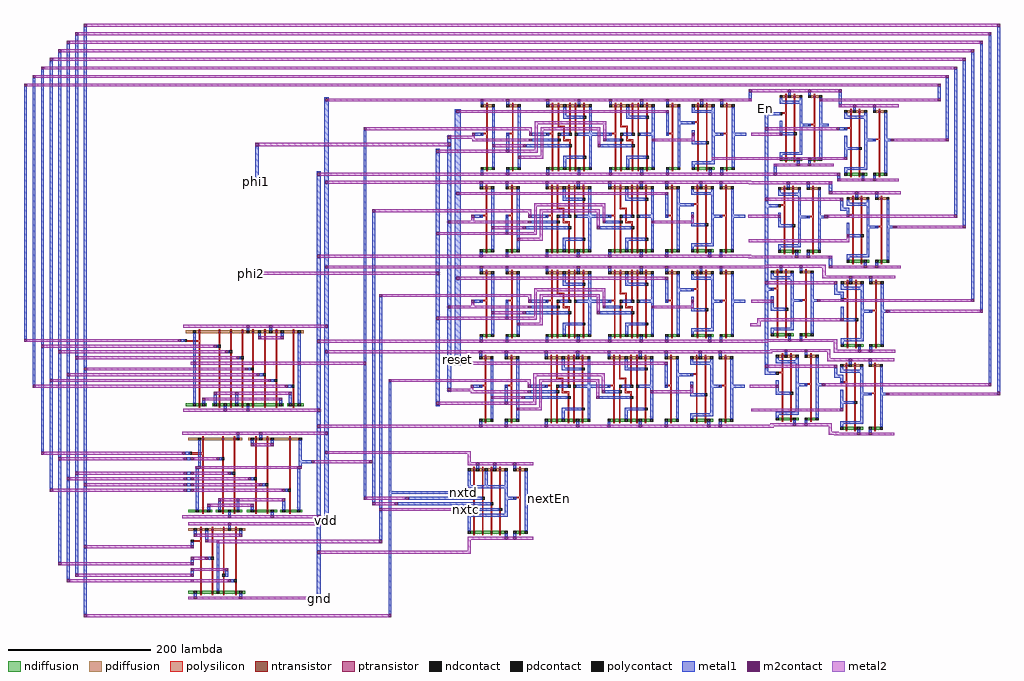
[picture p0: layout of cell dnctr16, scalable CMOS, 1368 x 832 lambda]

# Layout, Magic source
magic
tech scmos
<< metal1 >>
rect -528 162 -524 516
rect -516 98 -512 528
rect -504 154 -500 540
rect -504 4 -500 150
rect -492 106 -488 552
rect -492 -48 -488 102
rect -480 146 -476 564
rect -480 -4 -476 142
rect -480 -151 -476 -8
rect -468 114 -464 576
rect -468 -32 -464 110
rect -468 -175 -464 -36
rect -456 138 -452 588
rect -456 -24 -452 134
rect -456 -167 -452 -28
rect -444 122 -440 600
rect -107 499 -101 501
rect -107 495 -106 499
rect -102 495 -101 499
rect 488 499 492 508
rect -204 381 -199 432
rect -118 395 -112 397
rect -118 391 -117 395
rect -113 391 -112 395
rect -118 280 -112 391
rect -118 276 -117 280
rect -113 276 -112 280
rect -308 158 -303 162
rect -118 161 -112 276
rect -444 -40 -440 118
rect -118 157 -117 161
rect -113 157 -112 161
rect -118 64 -112 157
rect -118 60 -117 64
rect -113 60 -112 64
rect -118 42 -112 60
rect -118 38 -117 42
rect -113 38 -112 42
rect -302 0 -296 4
rect -300 -8 -297 -4
rect -143 -12 -125 -8
rect -300 -28 -297 -24
rect -300 -36 -298 -32
rect -300 -44 -297 -40
rect -444 -127 -440 -44
rect -300 -52 -297 -48
rect -118 -85 -112 38
rect -118 -89 -117 -85
rect -113 -89 -112 -85
rect -444 -224 -440 -131
rect -118 -135 -112 -89
rect -107 384 -101 495
rect 614 491 618 508
rect 753 499 757 516
rect 76 483 84 484
rect 76 479 78 483
rect 83 479 84 483
rect -107 380 -106 384
rect -102 380 -101 384
rect -107 265 -101 380
rect -107 261 -106 265
rect -102 261 -101 265
rect -107 182 -101 261
rect -107 178 -106 182
rect -102 178 -101 182
rect -107 146 -101 178
rect -107 142 -106 146
rect -102 142 -101 146
rect -107 32 -101 142
rect -107 28 -106 32
rect -102 28 -101 32
rect -107 5 -101 28
rect -107 1 -106 5
rect -102 1 -101 5
rect -107 -95 -101 1
rect -52 130 -48 455
rect 65 447 71 448
rect 65 443 66 447
rect 70 443 71 447
rect 65 437 71 443
rect 65 432 66 437
rect 70 432 71 437
rect 49 427 55 429
rect 49 423 50 427
rect 54 423 55 427
rect -52 -59 -48 126
rect -40 -67 -36 340
rect 49 312 55 423
rect 49 308 50 312
rect 54 308 55 312
rect 49 256 55 308
rect 49 252 50 256
rect 54 252 55 256
rect -107 -99 -106 -95
rect -102 -99 -101 -95
rect -107 -100 -101 -99
rect -30 -75 -26 221
rect 49 193 55 252
rect 49 189 50 193
rect 54 189 55 193
rect -30 -119 -26 -79
rect -17 -51 -13 102
rect 49 74 55 189
rect 65 328 71 432
rect 65 324 66 328
rect 70 324 71 328
rect 65 209 71 324
rect 65 205 66 209
rect 70 205 71 209
rect 65 93 71 205
rect 76 368 84 479
rect 76 364 78 368
rect 83 364 84 368
rect 76 249 84 364
rect 76 245 78 249
rect 83 245 84 249
rect 76 131 84 245
rect 76 126 78 131
rect 82 126 84 131
rect 76 125 84 126
rect 510 480 515 487
rect 510 476 532 480
rect 510 459 515 476
rect 615 455 626 459
rect 510 360 515 455
rect 764 443 768 528
rect 622 417 626 429
rect 523 395 527 404
rect 612 387 616 391
rect 600 369 605 379
rect 510 351 515 356
rect 510 347 529 351
rect 510 243 515 347
rect 616 346 620 356
rect 616 342 629 346
rect 625 336 629 342
rect 776 336 780 540
rect 788 321 792 552
rect 600 265 605 275
rect 510 234 515 239
rect 510 230 523 234
rect 510 126 515 230
rect 608 228 612 239
rect 608 224 621 228
rect 617 219 621 224
rect 800 218 804 564
rect 812 203 816 576
rect 510 116 515 122
rect 510 112 526 116
rect 608 112 612 122
rect 608 108 620 112
rect 616 101 620 108
rect 824 100 828 588
rect 65 89 66 93
rect 70 89 71 93
rect 65 88 71 89
rect 836 88 840 600
rect 49 70 50 74
rect 54 70 55 74
rect 49 68 55 70
rect 616 65 620 74
rect -17 -54 98 -51
rect -17 -55 78 -54
rect 87 -55 98 -54
rect -118 -139 -117 -135
rect -113 -139 -112 -135
rect -118 -199 -112 -139
rect -17 -224 -13 -55
rect 6 -63 7 -59
rect 11 -63 94 -59
rect 205 -64 213 -59
rect -4 -71 94 -67
<< metal2 >>
rect -440 600 836 604
rect -452 588 824 592
rect -464 576 812 580
rect -476 564 800 568
rect -488 552 788 556
rect -500 540 776 544
rect -512 528 764 532
rect -524 516 753 520
rect 492 508 526 512
rect 603 508 614 512
rect -102 495 85 499
rect 591 495 753 499
rect 83 479 100 483
rect -48 455 104 459
rect 515 455 611 459
rect 491 447 531 451
rect 70 443 100 447
rect 100 439 101 443
rect 691 439 764 443
rect -199 432 66 437
rect 54 423 101 427
rect 436 413 622 417
rect -113 391 88 395
rect 491 391 523 395
rect 527 391 612 395
rect -102 380 84 384
rect 488 379 521 383
rect 83 364 100 368
rect 605 365 633 369
rect 515 356 616 360
rect -36 340 103 344
rect 487 332 529 336
rect 599 332 776 336
rect 70 324 100 328
rect 695 317 788 321
rect 54 308 100 312
rect 625 302 629 305
rect 488 298 629 302
rect -113 276 85 280
rect 488 275 521 279
rect -102 261 84 265
rect 487 261 513 265
rect -212 252 50 256
rect 591 251 596 266
rect 605 261 633 265
rect 83 245 99 249
rect 591 247 609 251
rect 515 239 608 243
rect -26 221 104 225
rect 491 213 519 217
rect 588 214 800 218
rect 70 205 100 209
rect 684 199 812 203
rect 54 189 100 193
rect 500 187 616 191
rect 500 184 505 187
rect -132 178 -106 182
rect 490 180 505 184
rect -524 158 -312 162
rect -113 157 83 161
rect 489 157 515 161
rect 586 158 612 162
rect -500 150 -304 154
rect -476 142 -304 146
rect -102 142 84 146
rect 490 142 521 146
rect -452 134 -304 138
rect 598 135 602 147
rect 607 143 612 158
rect 598 131 614 135
rect -144 126 -52 130
rect 82 126 99 130
rect 515 122 608 126
rect -440 118 -302 122
rect -464 110 -303 114
rect -488 102 -303 106
rect -13 102 104 106
rect -512 94 -304 98
rect 489 94 526 98
rect 595 96 824 100
rect 70 89 101 92
rect 685 83 836 87
rect 54 70 99 74
rect -132 60 -117 64
rect 491 61 616 64
rect -113 38 82 42
rect 489 38 523 42
rect 600 32 604 44
rect -135 28 -106 32
rect 600 28 614 32
rect -500 0 -306 4
rect -102 1 98 5
rect -476 -8 -304 -4
rect -121 -12 -44 -8
rect 94 -15 98 1
rect -452 -28 -304 -24
rect -464 -36 -304 -32
rect -440 -44 -304 -40
rect -488 -52 -304 -48
rect -48 -63 7 -59
rect -36 -71 -8 -67
rect -26 -79 91 -75
rect -134 -89 -117 -85
rect -216 -99 -106 -95
rect -258 -124 -30 -119
rect -440 -131 -294 -127
rect 94 -135 98 -115
rect -113 -139 98 -135
rect -476 -155 -294 -151
rect -452 -171 -294 -167
rect -464 -179 -290 -175
rect -217 -203 -118 -199
rect -440 -228 -17 -224
<< m2contact >>
rect -444 600 -440 604
rect -456 588 -452 592
rect -468 576 -464 580
rect -480 564 -476 568
rect -492 552 -488 556
rect -504 540 -500 544
rect -516 528 -512 532
rect -528 516 -524 520
rect -528 158 -524 162
rect -516 94 -512 98
rect -504 150 -500 154
rect -504 0 -500 4
rect -492 102 -488 106
rect -492 -52 -488 -48
rect -480 142 -476 146
rect -480 -8 -476 -4
rect -480 -155 -476 -151
rect -468 110 -464 114
rect -468 -36 -464 -32
rect -456 134 -452 138
rect -456 -28 -452 -24
rect -456 -171 -452 -167
rect 836 600 840 604
rect 824 588 828 592
rect 812 576 816 580
rect 800 564 804 568
rect 788 552 792 556
rect 776 540 780 544
rect 764 528 768 532
rect 753 516 757 520
rect 488 508 492 512
rect -106 495 -102 499
rect 614 508 618 512
rect 488 495 492 499
rect 587 495 591 499
rect -204 432 -199 437
rect -117 391 -113 395
rect -117 276 -113 280
rect -312 158 -308 162
rect -444 118 -440 122
rect -117 157 -113 161
rect -117 60 -113 64
rect -117 38 -113 42
rect -306 0 -302 4
rect -304 -8 -300 -4
rect -125 -12 -121 -8
rect -304 -28 -300 -24
rect -304 -36 -300 -32
rect -444 -44 -440 -40
rect -304 -44 -300 -40
rect -304 -52 -300 -48
rect -117 -89 -113 -85
rect -444 -131 -440 -127
rect -294 -131 -290 -127
rect -468 -179 -464 -175
rect 753 495 757 499
rect 614 487 618 491
rect 78 479 83 483
rect -106 380 -102 384
rect -106 261 -102 265
rect -106 178 -102 182
rect -106 142 -102 146
rect -106 28 -102 32
rect -106 1 -102 5
rect -52 455 -48 459
rect 66 443 70 447
rect 66 432 70 437
rect 50 423 54 427
rect -52 126 -48 130
rect -40 340 -36 344
rect -44 -12 -40 -8
rect -52 -63 -48 -59
rect 50 308 54 312
rect 50 252 54 256
rect -40 -71 -36 -67
rect -30 221 -26 225
rect -106 -99 -102 -95
rect 50 189 54 193
rect -30 -79 -26 -75
rect -30 -124 -26 -119
rect -17 102 -13 106
rect 66 324 70 328
rect 66 205 70 209
rect 78 364 83 368
rect 78 245 83 249
rect 78 126 82 131
rect 510 455 515 459
rect 611 455 615 459
rect 531 447 535 451
rect 687 439 691 443
rect 764 439 768 443
rect 622 413 626 417
rect 523 404 527 408
rect 523 391 527 395
rect 612 391 616 395
rect 612 383 616 387
rect 600 379 605 383
rect 600 365 605 369
rect 510 356 515 360
rect 616 356 620 360
rect 529 332 533 336
rect 594 331 599 336
rect 776 332 780 336
rect 690 317 695 321
rect 788 317 792 321
rect 625 305 629 309
rect 600 275 605 279
rect 600 261 605 265
rect 510 239 515 243
rect 608 239 612 243
rect 519 213 523 217
rect 584 214 588 218
rect 800 214 804 218
rect 680 199 684 203
rect 812 199 816 203
rect 616 187 621 191
rect 510 122 515 126
rect 608 122 612 126
rect 526 94 530 98
rect 590 96 595 100
rect 824 96 828 100
rect 66 89 70 93
rect 680 83 685 87
rect 836 83 840 88
rect 50 70 54 74
rect 616 61 620 65
rect -117 -139 -113 -135
rect -294 -155 -290 -151
rect -294 -171 -290 -167
rect -118 -203 -112 -199
rect -444 -228 -440 -224
rect 7 -63 11 -59
rect -8 -71 -4 -67
rect 91 -79 95 -75
rect -17 -228 -13 -224
use 2inAND  2inAND_0
transform 1 0 523 0 1 404
box 0 0 84 108
use 2inAND  2inAND_1
transform 1 0 614 0 1 383
box 0 0 84 108
use 2inAND  2inAND_2
transform 1 0 521 0 1 275
box 0 0 84 108
use 2inAND  2inAND_3
transform 1 0 617 0 1 261
box 0 0 84 108
use 2inAND  2inAND_4
transform 1 0 511 0 1 158
box 0 0 84 108
use 2inAND  2inAND_5
transform 1 0 609 0 1 143
box 0 0 84 108
use 2inAND  2inAND_6
transform 1 0 518 0 1 40
box 0 0 84 108
use 2inAND  2inAND_7
transform 1 0 608 0 1 27
box 0 0 84 108
use 4inAND  4inAND_1
transform 1 0 94 0 1 -119
box 0 0 112 108
use dflipflopER  dflipflopER_0
transform 1 0 -74 0 1 38
box 156 0 565 108
use dflipflopER  dflipflopER_1
transform 1 0 -73 0 1 157
box 156 0 565 108
use dflipflopER  dflipflopER_2
transform 1 0 -73 0 1 276
box 156 0 565 108
use dflipflopER  dflipflopER_3
transform 1 0 -72 0 1 391
box 156 0 565 108
use nxta  nxta_0
transform 1 0 -290 0 1 60
box -15 0 158 122
use nxtb  nxtb_0
transform 1 0 -290 0 1 -80
box -16 -9 156 112
use xnor  xnor_0
transform 1 0 -282 0 1 -195
box -16 -8 68 100
<< labels >>
rlabel metal1 88 -53 88 -53 1 nxtd
rlabel metal1 208 -62 208 -62 1 nextEn
rlabel metal1 90 -61 90 -61 1 nxta
rlabel metal1 90 -69 90 -69 1 nxtb
rlabel m2contact 92 -77 92 -77 1 nxtc
rlabel metal1 -202 383 -202 383 1 phi1
rlabel metal2 -209 254 -209 254 1 phi2
rlabel metal1 512 485 512 485 1 En
rlabel m2contact -114 -201 -114 -201 1 gnd
rlabel metal1 -104 -92 -104 -92 1 vdd
rlabel metal1 80 133 80 133 1 reset
<< end >>

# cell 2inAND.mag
magic
tech scmos
<< polysilicon >>
rect 16 100 18 102
rect 28 100 30 102
rect 16 76 18 96
rect 12 74 18 76
rect 16 12 18 74
rect 28 48 30 96
rect 28 12 30 44
rect 16 6 18 8
rect 28 6 30 8
<< ndiffusion >>
rect 12 8 16 12
rect 18 8 28 12
rect 30 8 32 12
rect 36 8 40 12
<< pdiffusion >>
rect 12 96 16 100
rect 18 96 20 100
rect 24 96 28 100
rect 30 96 36 100
<< metal1 >>
rect 20 100 24 104
rect 8 92 12 96
rect 36 92 40 96
rect 8 88 40 92
rect 8 48 12 64
rect 36 60 40 88
rect 36 56 52 60
rect 64 56 77 60
rect 8 44 28 48
rect 36 20 40 56
rect 8 16 40 20
rect 8 12 12 16
rect 32 4 36 8
<< metal2 >>
rect 0 104 20 108
rect 24 104 40 108
rect 76 104 84 108
rect 0 0 32 4
rect 36 0 40 4
rect 76 0 84 4
<< ntransistor >>
rect 16 8 18 12
rect 28 8 30 12
<< ptransistor >>
rect 16 96 18 100
rect 28 96 30 100
<< polycontact >>
rect 8 72 12 76
rect 28 44 32 48
<< ndcontact >>
rect 8 8 12 12
rect 32 8 36 12
<< pdcontact >>
rect 8 96 12 100
rect 20 96 24 100
rect 36 96 40 100
<< m2contact >>
rect 20 104 24 108
rect 32 0 36 4
use inverter  inverter_0
transform 1 0 40 0 1 0
box 0 0 36 108
<< end >>

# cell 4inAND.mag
magic
tech scmos
<< polysilicon >>
rect 8 100 10 102
rect 20 100 22 102
rect 32 100 34 102
rect 44 100 46 102
rect 8 68 10 96
rect 4 66 10 68
rect 8 12 10 66
rect 20 60 22 96
rect 20 12 22 56
rect 32 52 34 96
rect 32 12 34 48
rect 44 44 46 96
rect 44 12 46 40
rect 8 6 10 8
rect 20 6 22 8
rect 32 6 34 8
rect 44 6 46 8
<< ndiffusion >>
rect 4 8 8 12
rect 10 8 20 12
rect 22 8 32 12
rect 34 8 44 12
rect 46 8 52 12
<< pdiffusion >>
rect 4 96 8 100
rect 10 96 12 100
rect 16 96 20 100
rect 22 96 24 100
rect 28 96 32 100
rect 34 96 36 100
rect 40 96 44 100
rect 46 96 52 100
<< metal1 >>
rect 12 100 16 104
rect 36 100 40 104
rect 0 76 4 96
rect 24 76 28 96
rect 52 76 56 96
rect 0 72 56 76
rect 52 60 56 72
rect 0 56 20 60
rect 52 56 68 60
rect 80 56 112 60
rect 0 48 32 52
rect 0 40 44 44
rect 52 36 56 56
rect 0 32 56 36
rect 0 12 4 32
rect 52 4 56 8
<< metal2 >>
rect 0 104 12 108
rect 16 104 36 108
rect 40 104 56 108
rect 0 0 52 4
<< ntransistor >>
rect 8 8 10 12
rect 20 8 22 12
rect 32 8 34 12
rect 44 8 46 12
<< ptransistor >>
rect 8 96 10 100
rect 20 96 22 100
rect 32 96 34 100
rect 44 96 46 100
<< polycontact >>
rect 0 64 4 68
rect 20 56 24 60
rect 32 48 36 52
rect 44 40 48 44
<< ndcontact >>
rect 0 8 4 12
rect 52 8 56 12
<< pdcontact >>
rect 0 96 4 100
rect 12 96 16 100
rect 24 96 28 100
rect 36 96 40 100
rect 52 96 56 100
<< m2contact >>
rect 12 104 16 108
rect 36 104 40 108
rect 52 0 56 4
use inverter  inverter_0
transform 1 0 56 0 1 0
box 0 0 36 108
<< end >>

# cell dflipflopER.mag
magic
tech scmos
<< metal1 >>
rect 176 56 188 60
rect 220 36 224 60
rect 256 56 280 60
rect 336 56 368 60
rect 444 56 448 88
rect 460 72 484 76
rect 548 56 556 60
rect 256 48 276 52
rect 360 48 364 52
rect 248 40 292 44
rect 352 40 364 44
<< metal2 >>
rect 156 104 180 108
rect 234 104 268 108
rect 348 104 356 108
rect 556 104 564 108
rect 172 88 444 92
rect 260 72 360 76
rect 172 64 256 68
rect 252 60 256 64
rect 172 52 176 56
rect 172 48 252 52
rect 204 40 244 44
rect 260 36 264 72
rect 172 32 220 36
rect 224 32 264 36
rect 268 64 352 68
rect 268 28 272 64
rect 348 44 352 64
rect 356 52 360 72
rect 480 52 484 56
rect 428 48 484 52
rect 240 24 272 28
rect 156 0 180 4
rect 239 0 271 4
rect 348 0 356 4
rect 556 0 564 4
<< m2contact >>
rect 444 88 448 92
rect 172 56 176 60
rect 200 40 204 44
rect 252 56 256 60
rect 480 56 484 60
rect 252 48 256 52
rect 356 48 360 52
rect 424 48 428 52
rect 244 40 248 44
rect 348 40 352 44
rect 220 32 224 36
rect 236 24 240 28
use 2inAND  2inAND_3
transform 1 0 472 0 1 0
box 0 0 84 108
use inverter  inverter_0
transform 1 0 436 0 1 0
box 0 0 36 108
use inverter  inverter_1
transform 1 0 212 0 1 0
box 0 0 36 108
use inverter  inverter_2
transform 1 0 176 0 1 0
box 0 0 36 108
use latch  latch_0
transform 1 0 268 0 1 0
box 0 0 80 108
use latch  latch_1
transform 1 0 356 0 1 0
box 0 0 80 108
<< labels >>
rlabel metal2 266 2 266 2 2 Gnd
rlabel metal2 254 106 254 106 5 Vdd
rlabel metal2 173 90 173 90 1 reset
rlabel metal2 174 66 174 66 1 d
rlabel m2contact 174 58 174 58 1 phi1
rlabel metal2 174 34 174 34 1 phi2
rlabel metal1 550 57 550 57 1 out
<< end >>

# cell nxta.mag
magic
tech scmos
<< polysilicon >>
rect 7 114 9 116
rect 35 114 37 116
rect 51 114 53 116
rect 67 114 69 116
rect 82 114 84 116
rect 99 114 101 116
rect 115 114 117 116
rect 139 114 141 116
rect 7 100 9 110
rect -10 98 9 100
rect 7 12 9 98
rect 35 94 37 110
rect 35 12 37 90
rect 51 86 53 110
rect 51 12 53 82
rect 67 78 69 110
rect 67 12 69 74
rect 82 62 84 110
rect 82 12 84 58
rect 99 54 101 110
rect 99 12 101 50
rect 115 46 117 110
rect 115 12 117 42
rect 139 38 141 110
rect 139 12 141 34
rect 7 6 9 8
rect 35 6 37 8
rect 51 6 53 8
rect 67 6 69 8
rect 82 6 84 8
rect 99 6 101 8
rect 115 6 117 8
rect 139 6 141 8
<< ndiffusion >>
rect -11 8 -1 12
rect 3 8 7 12
rect 9 8 12 12
rect 16 8 18 12
rect 26 8 28 12
rect 32 8 35 12
rect 37 8 42 12
rect 46 8 51 12
rect 53 8 58 12
rect 62 8 67 12
rect 69 8 74 12
rect 78 8 82 12
rect 84 8 99 12
rect 101 8 115 12
rect 117 8 120 12
rect 124 8 126 12
rect 131 8 133 12
rect 137 8 139 12
rect 141 8 146 12
rect 150 8 154 12
<< pdiffusion >>
rect -11 110 -1 114
rect 3 110 7 114
rect 9 110 35 114
rect 37 110 51 114
rect 53 110 67 114
rect 69 110 74 114
rect 78 110 82 114
rect 84 110 90 114
rect 94 110 99 114
rect 101 110 106 114
rect 110 110 115 114
rect 117 110 122 114
rect 126 110 139 114
rect 141 110 146 114
rect 150 110 154 114
<< metal1 >>
rect 74 114 78 118
rect 106 114 110 118
rect -1 70 3 110
rect 90 106 94 110
rect 122 106 126 110
rect 32 90 34 94
rect 48 82 50 86
rect 64 74 66 78
rect -1 12 3 66
rect 146 70 150 110
rect 76 58 80 62
rect 92 50 97 54
rect 108 42 113 46
rect 132 34 137 38
rect 12 12 16 16
rect 28 12 32 24
rect 58 12 62 24
rect 120 12 124 16
rect 133 12 137 24
rect 146 12 150 66
rect 42 4 46 8
rect 74 4 78 8
<< metal2 >>
rect -15 118 74 122
rect 78 118 106 122
rect 110 118 158 122
rect 94 102 122 106
rect -14 90 28 94
rect -14 82 44 86
rect -14 74 60 78
rect -4 66 -1 70
rect 3 66 146 70
rect 150 66 154 70
rect -14 58 72 62
rect -14 50 88 54
rect -14 42 104 46
rect -14 34 128 38
rect 32 24 58 28
rect 62 24 133 28
rect 16 16 120 20
rect -15 0 42 4
rect 46 0 74 4
rect 78 0 158 4
<< ntransistor >>
rect 7 8 9 12
rect 35 8 37 12
rect 51 8 53 12
rect 67 8 69 12
rect 82 8 84 12
rect 99 8 101 12
rect 115 8 117 12
rect 139 8 141 12
<< ptransistor >>
rect 7 110 9 114
rect 35 110 37 114
rect 51 110 53 114
rect 67 110 69 114
rect 82 110 84 114
rect 99 110 101 114
rect 115 110 117 114
rect 139 110 141 114
<< polycontact >>
rect -14 98 -10 102
rect 34 90 38 94
rect 50 82 54 86
rect 66 74 70 78
rect 80 58 84 62
rect 97 50 101 54
rect 113 42 117 46
rect 137 34 141 38
<< ndcontact >>
rect -1 8 3 12
rect 12 8 16 12
rect 28 8 32 12
rect 42 8 46 12
rect 58 8 62 12
rect 74 8 78 12
rect 120 8 124 12
rect 133 8 137 12
rect 146 8 150 12
<< pdcontact >>
rect -1 110 3 114
rect 74 110 78 114
rect 90 110 94 114
rect 106 110 110 114
rect 122 110 126 114
rect 146 110 150 114
<< m2contact >>
rect 74 118 78 122
rect 106 118 110 122
rect 90 102 94 106
rect 122 102 126 106
rect 28 90 32 94
rect 44 82 48 86
rect 60 74 64 78
rect -1 66 3 70
rect 146 66 150 70
rect 72 58 76 62
rect 88 50 92 54
rect 104 42 108 46
rect 128 34 132 38
rect 28 24 32 28
rect 12 16 16 20
rect 58 24 62 28
rect 133 24 137 28
rect 120 16 124 20
rect 42 0 46 4
rect 74 0 78 4
<< end >>

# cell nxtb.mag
magic
tech scmos
<< polysilicon >>
rect 12 104 14 106
rect 40 104 42 106
rect 56 104 58 106
rect 86 104 88 106
rect 102 104 104 106
rect 134 104 136 106
rect 12 83 14 100
rect -3 80 14 83
rect 12 3 14 80
rect 40 76 42 100
rect 40 3 42 72
rect 56 56 58 100
rect 56 3 58 52
rect 86 48 88 100
rect 86 3 88 44
rect 102 40 104 100
rect 102 3 104 36
rect 134 32 136 100
rect 134 3 136 28
rect 12 -3 14 -1
rect 40 -3 42 -1
rect 56 -3 58 -1
rect 86 -3 88 -1
rect 102 -3 104 -1
rect 134 -3 136 -1
<< ndiffusion >>
rect -8 -1 3 3
rect 7 -1 12 3
rect 14 -1 19 3
rect 23 -1 26 3
rect 31 -1 34 3
rect 38 -1 40 3
rect 42 -1 48 3
rect 52 -1 56 3
rect 58 -1 60 3
rect 64 -1 68 3
rect 74 -1 80 3
rect 84 -1 86 3
rect 88 -1 102 3
rect 104 -1 108 3
rect 112 -1 117 3
rect 121 -1 124 3
rect 128 -1 134 3
rect 136 -1 145 3
rect 149 -1 152 3
<< pdiffusion >>
rect -8 100 6 104
rect 10 100 12 104
rect 14 100 40 104
rect 42 100 56 104
rect 58 100 60 104
rect 64 100 68 104
rect 76 100 80 104
rect 84 100 86 104
rect 88 100 92 104
rect 96 100 102 104
rect 104 100 108 104
rect 112 100 134 104
rect 136 100 147 104
rect 151 100 152 104
<< metal1 >>
rect 60 104 64 108
rect 92 104 96 108
rect -7 72 -4 76
rect 6 64 10 100
rect 80 96 84 100
rect 108 96 112 100
rect 36 72 39 76
rect 147 64 151 100
rect -8 52 -4 56
rect -8 44 -4 48
rect -8 36 -4 40
rect -8 28 -4 32
rect 3 3 7 60
rect 52 52 54 56
rect 80 44 84 48
rect 96 36 100 40
rect 128 28 132 32
rect 19 3 23 7
rect 34 3 38 15
rect 60 3 64 15
rect 80 3 84 7
rect 124 3 128 15
rect 145 3 149 60
rect 48 -5 52 -1
rect 108 -5 112 -1
<< metal2 >>
rect -16 108 60 112
rect 64 108 92 112
rect 96 108 156 112
rect 84 92 108 96
rect 0 72 32 76
rect 2 60 3 64
rect 10 60 145 64
rect 0 52 48 56
rect 0 44 76 48
rect 0 36 92 40
rect 0 28 124 32
rect 38 15 60 19
rect 64 15 124 19
rect 23 7 80 11
rect -16 -9 48 -5
rect 52 -9 108 -5
rect 112 -9 156 -5
<< ntransistor >>
rect 12 -1 14 3
rect 40 -1 42 3
rect 56 -1 58 3
rect 86 -1 88 3
rect 102 -1 104 3
rect 134 -1 136 3
<< ptransistor >>
rect 12 100 14 104
rect 40 100 42 104
rect 56 100 58 104
rect 86 100 88 104
rect 102 100 104 104
rect 134 100 136 104
<< polycontact >>
rect -7 80 -3 84
rect 39 72 43 76
rect 54 52 58 56
rect 84 44 88 48
rect 100 36 104 40
rect 132 28 136 32
<< ndcontact >>
rect 3 -1 7 3
rect 19 -1 23 3
rect 34 -1 38 3
rect 48 -1 52 3
rect 60 -1 64 3
rect 80 -1 84 3
rect 108 -1 112 3
rect 124 -1 128 3
rect 145 -1 149 3
<< pdcontact >>
rect 6 100 10 104
rect 60 100 64 104
rect 80 100 84 104
rect 92 100 96 104
rect 108 100 112 104
rect 147 100 151 104
<< m2contact >>
rect 60 108 64 112
rect 92 108 96 112
rect -4 72 0 76
rect 80 92 84 96
rect 108 92 112 96
rect 32 72 36 76
rect 3 60 10 64
rect 145 60 151 64
rect -4 52 0 56
rect -4 44 0 48
rect -4 36 0 40
rect -4 28 0 32
rect 48 52 52 56
rect 76 44 80 48
rect 92 36 96 40
rect 124 28 128 32
rect 34 15 38 19
rect 19 7 23 11
rect 60 15 64 19
rect 124 15 128 19
rect 80 7 84 11
rect 48 -9 52 -5
rect 108 -9 112 -5
<< end >>

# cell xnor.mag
magic
tech scmos
<< polysilicon >>
rect 1 92 3 94
rect 17 92 19 94
rect 33 92 35 94
rect 50 92 52 94
rect 1 75 3 88
rect -8 73 3 75
rect 1 4 3 73
rect 17 52 19 88
rect 17 4 19 48
rect 33 28 35 88
rect 33 4 35 24
rect 50 20 52 88
rect 50 4 52 16
rect 1 -2 3 0
rect 17 -2 19 0
rect 33 -2 35 0
rect 50 -2 52 0
<< ndiffusion >>
rect -16 0 -8 4
rect -4 0 1 4
rect 3 0 17 4
rect 19 0 24 4
rect 28 0 33 4
rect 35 0 50 4
rect 52 0 56 4
rect 60 0 64 4
<< pdiffusion >>
rect -16 88 -8 92
rect -4 88 1 92
rect 3 88 8 92
rect 12 88 17 92
rect 19 88 33 92
rect 35 88 40 92
rect 44 88 50 92
rect 52 88 56 92
rect 60 88 64 92
<< metal1 >>
rect 40 92 44 96
rect -8 84 -4 88
rect 8 76 12 88
rect 56 84 60 88
rect -12 64 -8 72
rect 12 48 16 52
rect -12 40 -8 48
rect -12 24 -8 32
rect 24 4 28 72
rect 36 24 40 32
rect 44 16 48 20
rect -8 -4 -4 0
rect 56 -4 60 0
<< metal2 >>
rect -16 96 40 100
rect 44 96 68 100
rect -4 80 56 84
rect 12 72 24 76
rect -8 48 8 52
rect -8 32 36 36
rect -8 16 40 20
rect -16 -8 -8 -4
rect -4 -8 56 -4
rect 60 -8 68 -4
<< ntransistor >>
rect 1 0 3 4
rect 17 0 19 4
rect 33 0 35 4
rect 50 0 52 4
<< ptransistor >>
rect 1 88 3 92
rect 17 88 19 92
rect 33 88 35 92
rect 50 88 52 92
<< polycontact >>
rect -12 72 -8 76
rect 16 48 20 52
rect 32 24 36 28
rect 48 16 52 20
<< ndcontact >>
rect -8 0 -4 4
rect 24 0 28 4
rect 56 0 60 4
<< pdcontact >>
rect -8 88 -4 92
rect 8 88 12 92
rect 40 88 44 92
rect 56 88 60 92
<< m2contact >>
rect 40 96 44 100
rect -8 80 -4 84
rect 56 80 60 84
rect 8 72 12 76
rect 24 72 28 76
rect -12 48 -8 52
rect 8 48 12 52
rect -12 32 -8 36
rect -12 16 -8 20
rect 36 32 40 36
rect 40 16 44 20
rect -8 -8 -4 -4
rect 56 -8 60 -4
<< end >>

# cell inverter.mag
magic
tech scmos
<< polysilicon >>
rect 16 100 18 102
rect 16 60 18 96
rect 12 58 18 60
rect 16 12 18 58
rect 16 6 18 8
<< ndiffusion >>
rect 12 8 16 12
rect 18 8 24 12
<< pdiffusion >>
rect 12 96 16 100
rect 18 96 24 100
<< metal1 >>
rect 8 100 12 104
rect 24 12 28 96
rect 8 4 12 8
<< metal2 >>
rect 0 104 8 108
rect 12 104 36 108
rect 0 0 8 4
rect 12 0 36 4
<< ntransistor >>
rect 16 8 18 12
<< ptransistor >>
rect 16 96 18 100
<< polycontact >>
rect 8 56 12 60
<< ndcontact >>
rect 8 8 12 12
rect 24 8 28 12
<< pdcontact >>
rect 8 96 12 100
rect 24 96 28 100
<< m2contact >>
rect 8 104 12 108
rect 8 0 12 4
<< end >>

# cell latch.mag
magic
tech scmos
<< polysilicon >>
rect 16 100 18 102
rect 24 100 26 102
rect 40 100 42 102
rect 48 100 50 102
rect 60 100 62 102
rect 16 60 18 96
rect 24 70 26 96
rect 24 68 34 70
rect 12 58 18 60
rect 16 12 18 58
rect 24 52 26 56
rect 32 51 34 68
rect 40 60 42 96
rect 48 60 50 96
rect 60 84 62 96
rect 32 48 42 51
rect 24 12 26 48
rect 40 44 42 48
rect 40 12 42 40
rect 48 12 50 56
rect 60 28 62 80
rect 60 12 62 24
rect 16 6 18 8
rect 24 6 26 8
rect 40 6 42 8
rect 48 6 50 8
rect 60 6 62 8
<< ndiffusion >>
rect 12 8 16 12
rect 18 8 24 12
rect 26 8 32 12
rect 36 8 40 12
rect 42 8 48 12
rect 50 8 52 12
rect 56 8 60 12
rect 62 8 68 12
<< pdiffusion >>
rect 12 96 16 100
rect 18 96 24 100
rect 26 96 32 100
rect 36 96 40 100
rect 42 96 48 100
rect 50 96 52 100
rect 56 96 60 100
rect 62 96 68 100
<< metal1 >>
rect 8 100 12 104
rect 52 100 56 104
rect 32 84 36 96
rect 32 80 60 84
rect 68 60 72 96
rect 28 56 40 60
rect 52 56 72 60
rect 8 48 24 52
rect 8 40 40 44
rect 32 24 60 28
rect 32 12 36 24
rect 68 12 72 56
rect 8 4 12 8
rect 52 4 56 8
<< metal2 >>
rect 0 104 8 108
rect 12 104 52 108
rect 56 104 80 108
rect 0 0 8 4
rect 12 0 52 4
rect 56 0 80 4
<< ntransistor >>
rect 16 8 18 12
rect 24 8 26 12
rect 40 8 42 12
rect 48 8 50 12
rect 60 8 62 12
<< ptransistor >>
rect 16 96 18 100
rect 24 96 26 100
rect 40 96 42 100
rect 48 96 50 100
rect 60 96 62 100
<< polycontact >>
rect 8 56 12 60
rect 24 56 28 60
rect 24 48 28 52
rect 60 80 64 84
rect 40 56 44 60
rect 48 56 52 60
rect 40 40 44 44
rect 60 24 64 28
<< ndcontact >>
rect 8 8 12 12
rect 32 8 36 12
rect 52 8 56 12
rect 68 8 72 12
<< pdcontact >>
rect 8 96 12 100
rect 32 96 36 100
rect 52 96 56 100
rect 68 96 72 100
<< m2contact >>
rect 8 104 12 108
rect 52 104 56 108
rect 8 0 12 4
rect 52 0 56 4
<< end >>
